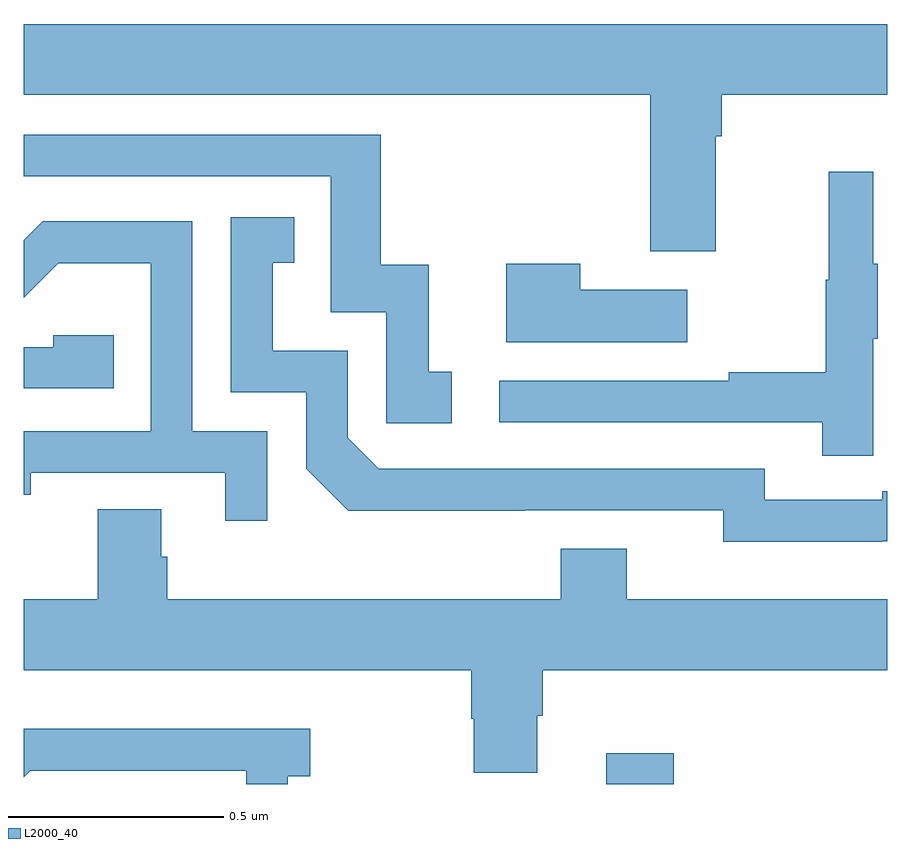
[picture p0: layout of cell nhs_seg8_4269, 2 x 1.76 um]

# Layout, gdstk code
import gdstk
lib = gdstk.Library(unit=1e-6, precision=1e-09)
def R(c, l, rs):  # rectangles x0, y0, x1, y1
    for r in rs: c.add(gdstk.rectangle(r[:2], r[2:], *l))
def P(c, l, *ps):  # polygons
    for p in ps: c.add(gdstk.Polygon(p, *l))
L2000_40 = (2000, 40)

nhs_seg8_4269 = lib.new_cell('nhs_seg8_4269')
R(nhs_seg8_4269, L2000_40, [(169.349,1118.9,169.505,1118.971)])
P(nhs_seg8_4269, L2000_40, [(169.603,1120.4),(169.616,1120.4),(169.616,1120.496),(170,1120.496),(170,1120.66),(168,1120.66),(168,1120.496),(169.451,1120.496),(169.451,1120.134),(169.603,1120.134)],
  [(168.991,1119.855),(168.938,1119.855),(168.938,1120.102),(168.827,1120.102),(168.827,1120.404),(168,1120.404),(168,1120.308),(168.711,1120.308),(168.711,1119.993),(168.84,1119.993),(168.84,1119.735),(168.991,1119.735)],
  [(169.967,1119.931),(169.978,1119.931),(169.978,1120.105),(169.967,1120.105),(169.967,1120.318),(169.864,1120.318),(169.864,1120.068),(169.857,1120.068),(169.857,1119.854),(169.633,1119.854),(169.633,1119.834),(169.101,1119.834),(169.101,1119.738),(169.849,1119.738),(169.849,1119.66),(169.967,1119.66)],
  [(169.988,1119.462),(170,1119.462),(170,1119.578),(169.988,1119.578),(169.988,1119.558),(169.716,1119.558),(169.716,1119.63),(168.822,1119.63),(168.75,1119.702),(168.75,1119.903),(168.577,1119.903),(168.577,1120.107),(168.626,1120.107),(168.626,1120.213),(168.48,1120.213),(168.48,1119.807),(168.654,1119.807),(168.654,1119.63),(168.752,1119.533),(169.16,1119.533),(169.16,1119.534),(169.62,1119.534),(169.62,1119.461),(169.988,1119.461)],
  [(168.564,1119.717),(168.39,1119.717),(168.39,1120.203),(168.044,1120.203),(168,1120.159),(168,1120.026),(168.08,1120.106),(168.294,1120.106),(168.294,1119.717),(168,1119.717),(168,1119.57),(168.016,1119.57),(168.016,1119.621),(168.467,1119.621),(168.467,1119.51),(168.564,1119.51)],
  [(169.537,1120.045),(169.289,1120.045),(169.289,1120.105),(169.118,1120.105),(169.118,1119.923),(169.537,1119.923)],
  [(168.209,1119.939),(168.069,1119.939),(168.069,1119.912),(168,1119.912),(168,1119.816),(168.209,1119.816)],
  [(169.189,1119.058),(169.202,1119.058),(169.202,1119.164),(170,1119.164),(170,1119.328),(169.396,1119.328),(169.396,1119.445),(169.244,1119.445),(169.244,1119.328),(168.332,1119.328),(168.332,1119.426),(168.319,1119.426),(168.319,1119.536),(168.172,1119.536),(168.172,1119.328),(168,1119.328),(168,1119.164),(169.037,1119.164),(169.037,1119.051),(169.042,1119.051),(169.042,1118.926),(169.189,1118.926)],
  [(168.612,1118.918),(168.664,1118.918),(168.664,1119.028),(168,1119.028),(168,1118.916),(168.015,1118.931),(168.515,1118.931),(168.515,1118.9),(168.612,1118.9)])

lib.write_gds('nhs_seg8_4269.gds')
